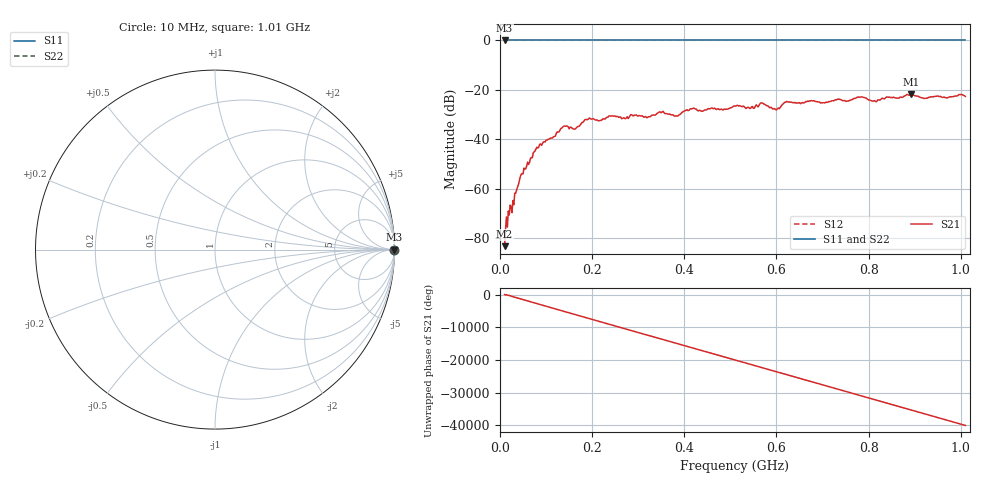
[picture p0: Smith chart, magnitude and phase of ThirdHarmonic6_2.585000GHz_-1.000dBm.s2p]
! 8/17/2025 5:30:05 AM
! C:\ANRITSUVNA\TEMP\TEMP.S2P
! CHANNEL.1
! TR.MEASUREMENT
! RAW.DATA
! RF.CORRECTION.OFF
! AVERAGING.OFF
! IF.BANDWIDTH: 5KHZ
! SWEEPTYPE:  FREQ.SWEEP(Linear)
! Reference Plane Port Info
! PORT:  PORT1  PORT2
! DISTANCE:  0  m  0  m
! TIME:  0  s  0  s
! PHASE.OFFSET:  0  deg.  0  deg.
! LOSS:  0  dB  0  dB
! REF.LOSS:  0  dB  0  dB
! REF.FREQ:  0  Hz  0  Hz
! Power Info
! POWER:  -20  dBm  -20  dBm
! EFF.POWER:  -20  dBm  -20  dBm
! SOURCE.ATTEN:  0  dB  0  dB
! TEST.ATTEN:  0  dB  0  dB
# GHZ S RI R 50.0
! FREQ.GHZ  S11RE  S11IM  S21RE  S21IM  S12RE  S12IM  S22RE  S22IM
!; PortSelection: Port_12
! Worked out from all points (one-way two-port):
!   501 points, 10 MHz to 1.01 GHz, reference 50 ohm
!   highest |S21| = -21.85 dB at 892 MHz (marker M1); lowest = -83.3 dB at 10 MHz (marker M2)
!   lowest |S11| = 0.0 dB at 10 MHz (marker M3)
!   |S11| at or under -10 dB: nowhere
!   |S22| runs from 0.0 to 0.0 dB; largest |S21 - S12| = 1.1
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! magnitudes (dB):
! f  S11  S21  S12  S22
! 10 MHz  0.0  -83.3  0.0  0.0
! 18 MHz  0.0  -69.1  0.0  0.0
! 44 MHz  0.0  -55.2  0.0  0.0
! 76 MHz  0.0  -44.8  0.0  0.0
! 136 MHz  0.0  -35.1  0.0  0.0
! 162 MHz  0.0  -36.0  0.0  0.0
! 178 MHz  0.0  -33.2  0.0  0.0
! 192 MHz  0.0  -31.7  0.0  0.0
! 344 MHz  0.0  -29.2  0.0  0.0
! 382 MHz  0.0  -30.5  0.0  0.0
! 418 MHz  0.0  -27.6  0.0  0.0
! 510 MHz  0.0  -26.6  0.0  0.0
! 548 MHz  0.0  -26.8  0.0  0.0
! 568 MHz  0.0  -25.3  0.0  0.0
! 596 MHz  0.0  -27.6  0.0  0.0
! 622 MHz  0.0  -24.7  0.0  0.0
! 678 MHz  0.0  -24.5  0.0  0.0
! 782 MHz  0.0  -22.9  0.0  0.0
! 814 MHz  0.0  -24.5  0.0  0.0
! 844 MHz  0.0  -23.0  0.0  0.0
! 892 MHz  0.0  -21.9  0.0  0.0
! 1.01 GHz  0.0  -22.7  0.0  0.0
